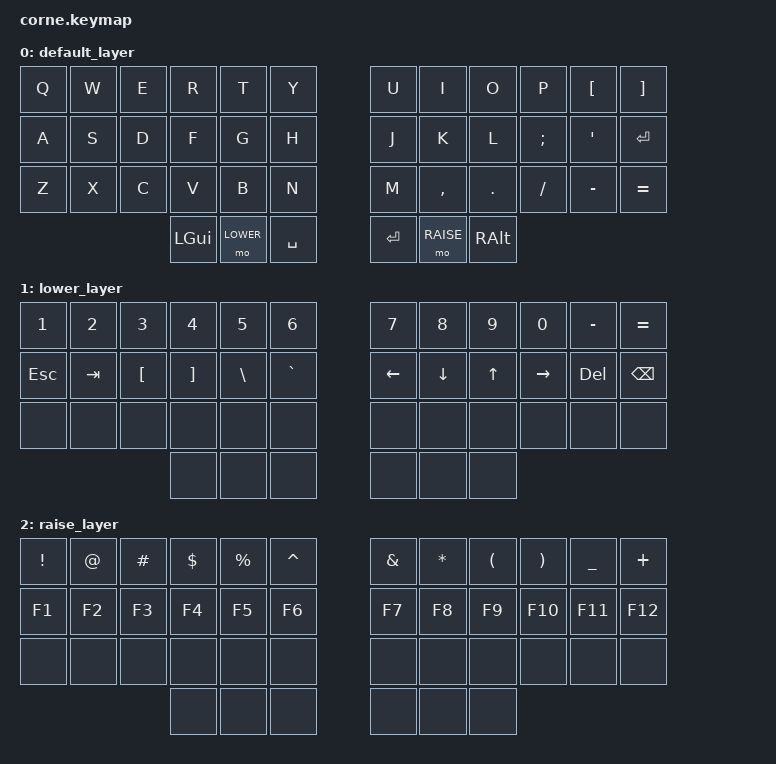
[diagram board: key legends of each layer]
#include <dt-bindings/zmk/pointing.h>
#include <behaviors.dtsi>
#include <dt-bindings/zmk/keys.h>

#define LOWER 1
#define RAISE 2

/ {
    keymap {
        compatible = "zmk,keymap";

        default_layer {
            bindings = <
&kp Q &kp W &kp E &kp R &kp T &kp Y        &kp U &kp I &kp O &kp P &kp LEFT_BRACKET &kp RIGHT_BRACKET
&kp A &kp S &kp D &kp F &kp G &kp H        &kp J &kp K &kp L &kp SEMICOLON &kp APOSTROPHE &kp ENTER
&kp Z &kp X &kp C &kp V &kp B &kp N        &kp M &kp COMMA &kp DOT &kp SLASH &kp MINUS &kp EQUAL
                &kp LGUI &mo LOWER &kp SPACE        &kp ENTER &mo RAISE &kp RALT
            >;
        };

        lower_layer {
            bindings = <
&kp N1 &kp N2 &kp N3 &kp N4 &kp N5 &kp N6        &kp N7 &kp N8 &kp N9 &kp N0 &kp MINUS &kp EQUAL
&kp ESC &kp TAB &kp LEFT_BRACKET &kp RIGHT_BRACKET &kp BACKSLASH &kp GRAVE
        &kp LEFT_ARROW &kp DOWN_ARROW &kp UP_ARROW &kp RIGHT_ARROW &kp DELETE &kp BACKSPACE
&none &none &none &none &none &none        &none &none &none &none &none &none
                &none &none &none        &none &none &none
            >;
        };

        raise_layer {
            bindings = <
&kp EXCLAMATION &kp AT &kp HASH &kp DOLLAR &kp PERCENT &kp CARET
        &kp AMPERSAND &kp ASTERISK &kp LEFT_PARENTHESIS &kp RIGHT_PARENTHESIS &kp UNDERSCORE &kp PLUS
&kp F1 &kp F2 &kp F3 &kp F4 &kp F5 &kp F6        &kp F7 &kp F8 &kp F9 &kp F10 &kp F11 &kp F12
&none &none &none &none &none &none        &none &none &none &none &none &none
                &none &none &none        &none &none &none
            >;
        };
    };
};

